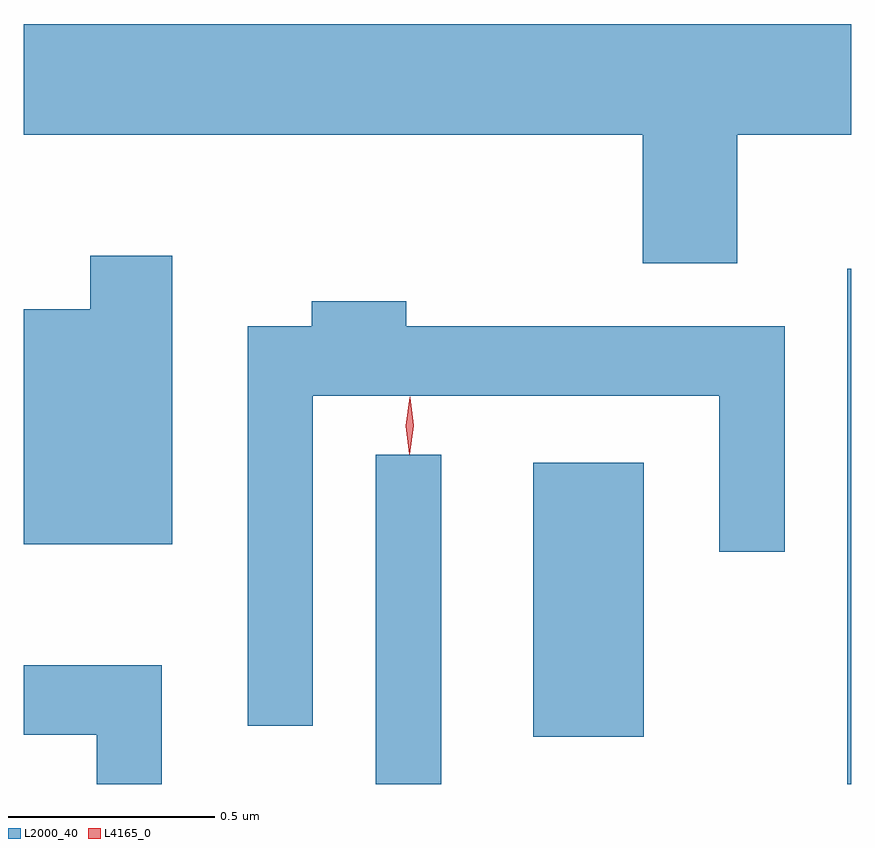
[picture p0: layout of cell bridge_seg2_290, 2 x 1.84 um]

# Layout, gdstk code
import gdstk
lib = gdstk.Library(unit=1e-6, precision=1e-09)
def R(c, l, rs):  # rectangles x0, y0, x1, y1
    for r in rs: c.add(gdstk.rectangle(r[:2], r[2:], *l))
def P(c, l, *ps):  # polygons
    for p in ps: c.add(gdstk.Polygon(p, *l))
L2000_40 = (2000, 40)
L4165_0 = (4165, 0)

bridge_seg2_290 = lib.new_cell('bridge_seg2_290')
R(bridge_seg2_290, L2000_40, [(641.486,1097.807,641.644,1098.603), (642.626,1097.807,642.635,1099.053), (641.866,1097.921,642.134,1098.584)])
P(bridge_seg2_290, L2000_40, [(642.359,1099.376),(642.635,1099.376),(642.635,1099.644),(640.635,1099.644),(640.635,1099.376),(642.131,1099.376),(642.131,1099.066),(642.359,1099.066)],
  [(640.994,1099.084),(640.796,1099.084),(640.796,1098.954),(640.635,1098.954),(640.635,1098.386),(640.994,1098.386)],
  [(641.334,1098.746),(642.316,1098.746),(642.316,1098.368),(642.474,1098.368),(642.474,1098.914),(641.559,1098.914),(641.559,1098.974),(641.331,1098.974),(641.331,1098.914),(641.176,1098.914),(641.176,1097.948),(641.334,1097.948)],
  [(640.969,1098.094),(640.635,1098.094),(640.635,1097.926),(640.811,1097.926),(640.811,1097.807),(640.969,1097.807)])
P(bridge_seg2_290, L4165_0, [(641.568,1098.603),(641.567,1098.604),(641.558,1098.673),(641.568,1098.742),(641.569,1098.743),(641.569,1098.742),(641.578,1098.673),(641.568,1098.604)])

lib.write_gds('bridge_seg2_290.gds')
